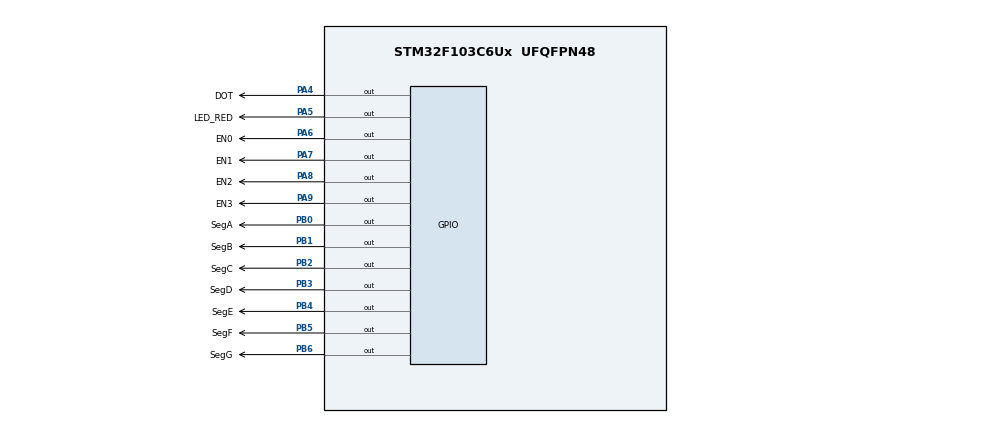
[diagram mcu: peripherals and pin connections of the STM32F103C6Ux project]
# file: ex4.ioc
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Mcu.Family=STM32F1
Mcu.Name=STM32F103C6Ux
Mcu.Package=UFQFPN48
NVIC.PriorityGroup=NVIC_PRIORITYGROUP_4
NVIC.TIM2_IRQn=true\:0\:0\:false\:false\:true\:true\:true
PA4.GPIO_Label=DOT
PA4.Signal=GPIO_Output
PA5.GPIO_Label=LED_RED
PA5.Signal=GPIO_Output
PA6.GPIO_Label=EN0
PA6.Signal=GPIO_Output
PA7.GPIO_Label=EN1
PA7.Signal=GPIO_Output
PA8.GPIO_Label=EN2
PA8.Signal=GPIO_Output
PA9.GPIO_Label=EN3
PA9.Signal=GPIO_Output
PB0.GPIO_Label=SegA
PB0.Signal=GPIO_Output
PB1.GPIO_Label=SegB
PB1.Signal=GPIO_Output
PB2.GPIO_Label=SegC
PB2.Signal=GPIO_Output
PB3.GPIO_Label=SegD
PB3.Signal=GPIO_Output
PB4.GPIO_Label=SegE
PB4.Signal=GPIO_Output
PB5.GPIO_Label=SegF
PB5.Signal=GPIO_Output
PB6.GPIO_Label=SegG
PB6.Signal=GPIO_Output
ProjectManager.HeapSize=0x200
ProjectManager.StackSize=0x400
ProjectManager.TargetToolchain=STM32CubeIDE
RCC.APB1Freq_Value=8000000
RCC.APB2Freq_Value=8000000
TIM2.Period=9
TIM2.Prescaler=7999
VP_SYS_VS_ND.Mode=No_Debug
VP_TIM2_VS_ClockSourceINT.Mode=Internal
board=custom

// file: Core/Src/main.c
/* USER CODE BEGIN Header */
/**
  ******************************************************************************
  * @file           : main.c
  * @brief          : Main program body
  ******************************************************************************
  * @attention
  *
  * <h2><center>&copy; Copyright (c) 2023 STMicroelectronics.
  * All rights reserved.</center></h2>
  *
  * This software component is licensed by ST under BSD 3-Clause license,
  * the "License"; You may not use this file except in compliance with the
  * License. You may obtain a copy of the License at:
  *                        opensource.org/licenses/BSD-3-Clause
  *
  ******************************************************************************
  */
/* USER CODE END Header */
#include "main.h"

/* USER CODE BEGIN Includes */
#include "sofware_timer.h"
#include "myLib.h"
/* USER CODE END Includes */

TIM_HandleTypeDef htim2;

void SystemClock_Config(void);
static void MX_GPIO_Init(void);
static void MX_TIM2_Init(void);

int main(void)
{

  /* MCU Configuration--------------------------------------------------------*/

  /* Reset of all peripherals, Initializes the Flash interface and the Systick. */
  HAL_Init();

  /* Configure the system clock */
  SystemClock_Config();

  /* Initialize all configured peripherals */
  MX_GPIO_Init();
  MX_TIM2_Init();
  /* USER CODE BEGIN 2 */
  HAL_TIM_Base_Start_IT(&htim2);
  void enState(uint8_t enIndex) {
  	HAL_GPIO_WritePin(GPIOA, GPIO_PIN_(6), SET);
  	HAL_GPIO_WritePin(GPIOA, GPIO_PIN_(7), SET);
  	HAL_GPIO_WritePin(GPIOA, GPIO_PIN_(8), SET);
  	HAL_GPIO_WritePin(GPIOA, GPIO_PIN_(9), SET);
  	HAL_GPIO_WritePin(GPIOA, GPIO_PIN_(enIndex + 6), RESET);
  }
  const uint8_t MAX_LED = 4;
  uint8_t index_led = 0;
  uint8_t led_buffer[4] = {1, 2, 3, 4};
  void update7SEG(int index){
      switch (index){
          case 0:
              //Display the first 7SEG with led_buffer[0]
        	  enState(0);
              break;
          case 1:
              //Display the second 7SEG with led_buffer[1]
        	  enState(1);
              break;
          case 2:
              //Display the third 7SEG with led_buffer[2]
        	  enState(2);
              break;
          case 3:
              //Display the forth 7SEG with led_buffer[3]
        	  enState(3);
              break;
          default:
              break;
      }
      display7SEG1(led_buffer[index]);
  }
  setTimer(0, 100);
  setTimer(1, 50);
  setTimer(2, 100);
  /* USER CODE END 2 */

  /* Infinite loop */
  /* USER CODE BEGIN WHILE */
  while (1)
  {
	  if (timerFlag[0] == 1) {
		  setTimer(0, 100);
		  HAL_GPIO_TogglePin(GPIOA, LED_RED_Pin);
	  }
	  if (timerFlag[1] == 1) {
		  setTimer(1, 50);
		  update7SEG(index_led++);
		  if (index_led >= MAX_LED)
			  index_led = 0;
	  }
	  if (timerFlag[2] == 1) {
		  setTimer(2, 100);
		  HAL_GPIO_TogglePin(GPIOA, DOT_Pin);
	  }
    /* USER CODE END WHILE */

  }
}

void SystemClock_Config(void)
{
  RCC_OscInitTypeDef RCC_OscInitStruct = {0};
  RCC_ClkInitTypeDef RCC_ClkInitStruct = {0};

  /** Initializes the RCC Oscillators according to the specified parameters
  * in the RCC_OscInitTypeDef structure.
  */
  RCC_OscInitStruct.OscillatorType = RCC_OSCILLATORTYPE_HSI;
  RCC_OscInitStruct.HSIState = RCC_HSI_ON;
  RCC_OscInitStruct.HSICalibrationValue = RCC_HSICALIBRATION_DEFAULT;
  RCC_OscInitStruct.PLL.PLLState = RCC_PLL_NONE;
  if (HAL_RCC_OscConfig(&RCC_OscInitStruct) != HAL_OK)
  {
    Error_Handler();
  }
  /** Initializes the CPU, AHB and APB buses clocks
  */
  RCC_ClkInitStruct.ClockType = RCC_CLOCKTYPE_HCLK|RCC_CLOCKTYPE_SYSCLK
                              |RCC_CLOCKTYPE_PCLK1|RCC_CLOCKTYPE_PCLK2;
  RCC_ClkInitStruct.SYSCLKSource = RCC_SYSCLKSOURCE_HSI;
  RCC_ClkInitStruct.AHBCLKDivider = RCC_SYSCLK_DIV1;
  RCC_ClkInitStruct.APB1CLKDivider = RCC_HCLK_DIV1;
  RCC_ClkInitStruct.APB2CLKDivider = RCC_HCLK_DIV1;

  if (HAL_RCC_ClockConfig(&RCC_ClkInitStruct, FLASH_LATENCY_0) != HAL_OK)
  {
    Error_Handler();
  }
}

static void MX_TIM2_Init(void)
{

  TIM_ClockConfigTypeDef sClockSourceConfig = {0};
  TIM_MasterConfigTypeDef sMasterConfig = {0};

  htim2.Instance = TIM2;
  htim2.Init.Prescaler = 7999;
  htim2.Init.CounterMode = TIM_COUNTERMODE_UP;
  htim2.Init.Period = 9;
  htim2.Init.ClockDivision = TIM_CLOCKDIVISION_DIV1;
  htim2.Init.AutoReloadPreload = TIM_AUTORELOAD_PRELOAD_DISABLE;
  if (HAL_TIM_Base_Init(&htim2) != HAL_OK)
  {
    Error_Handler();
  }
  sClockSourceConfig.ClockSource = TIM_CLOCKSOURCE_INTERNAL;
  if (HAL_TIM_ConfigClockSource(&htim2, &sClockSourceConfig) != HAL_OK)
  {
    Error_Handler();
  }
  sMasterConfig.MasterOutputTrigger = TIM_TRGO_RESET;
  sMasterConfig.MasterSlaveMode = TIM_MASTERSLAVEMODE_DISABLE;
  if (HAL_TIMEx_MasterConfigSynchronization(&htim2, &sMasterConfig) != HAL_OK)
  {
    Error_Handler();
  }

}

static void MX_GPIO_Init(void)
{
  GPIO_InitTypeDef GPIO_InitStruct = {0};

  /* GPIO Ports Clock Enable */
  __HAL_RCC_GPIOA_CLK_ENABLE();
  __HAL_RCC_GPIOB_CLK_ENABLE();

  /*Configure GPIO pin Output Level */
  HAL_GPIO_WritePin(GPIOA, DOT_Pin|LED_RED_Pin|EN0_Pin|EN1_Pin
                          |EN2_Pin|EN3_Pin, GPIO_PIN_RESET);

  /*Configure GPIO pin Output Level */
  HAL_GPIO_WritePin(GPIOB, SegA_Pin|SegB_Pin|SegC_Pin|SegD_Pin
                          |SegE_Pin|SegF_Pin|SegG_Pin, GPIO_PIN_RESET);

  /*Configure GPIO pins : DOT_Pin LED_RED_Pin EN0_Pin EN1_Pin
                           EN2_Pin EN3_Pin */
  GPIO_InitStruct.Pin = DOT_Pin|LED_RED_Pin|EN0_Pin|EN1_Pin
                          |EN2_Pin|EN3_Pin;
  GPIO_InitStruct.Mode = GPIO_MODE_OUTPUT_PP;
  GPIO_InitStruct.Pull = GPIO_NOPULL;
  GPIO_InitStruct.Speed = GPIO_SPEED_FREQ_LOW;
  HAL_GPIO_Init(GPIOA, &GPIO_InitStruct);

  /*Configure GPIO pins : SegA_Pin SegB_Pin SegC_Pin SegD_Pin
                           SegE_Pin SegF_Pin SegG_Pin */
  GPIO_InitStruct.Pin = SegA_Pin|SegB_Pin|SegC_Pin|SegD_Pin
                          |SegE_Pin|SegF_Pin|SegG_Pin;
  GPIO_InitStruct.Mode = GPIO_MODE_OUTPUT_PP;
  GPIO_InitStruct.Pull = GPIO_NOPULL;
  GPIO_InitStruct.Speed = GPIO_SPEED_FREQ_LOW;
  HAL_GPIO_Init(GPIOB, &GPIO_InitStruct);

}

/* USER CODE BEGIN 4 */
void HAL_TIM_PeriodElapsedCallback(TIM_HandleTypeDef *htim) {
	timerRun(0);
	timerRun(1);
	timerRun(2);
}
/* USER CODE END 4 */

void Error_Handler(void)
{
  __disable_irq();
  while (1)
  {
  }
}

/************************ (C) COPYRIGHT STMicroelectronics *****END OF FILE****/
